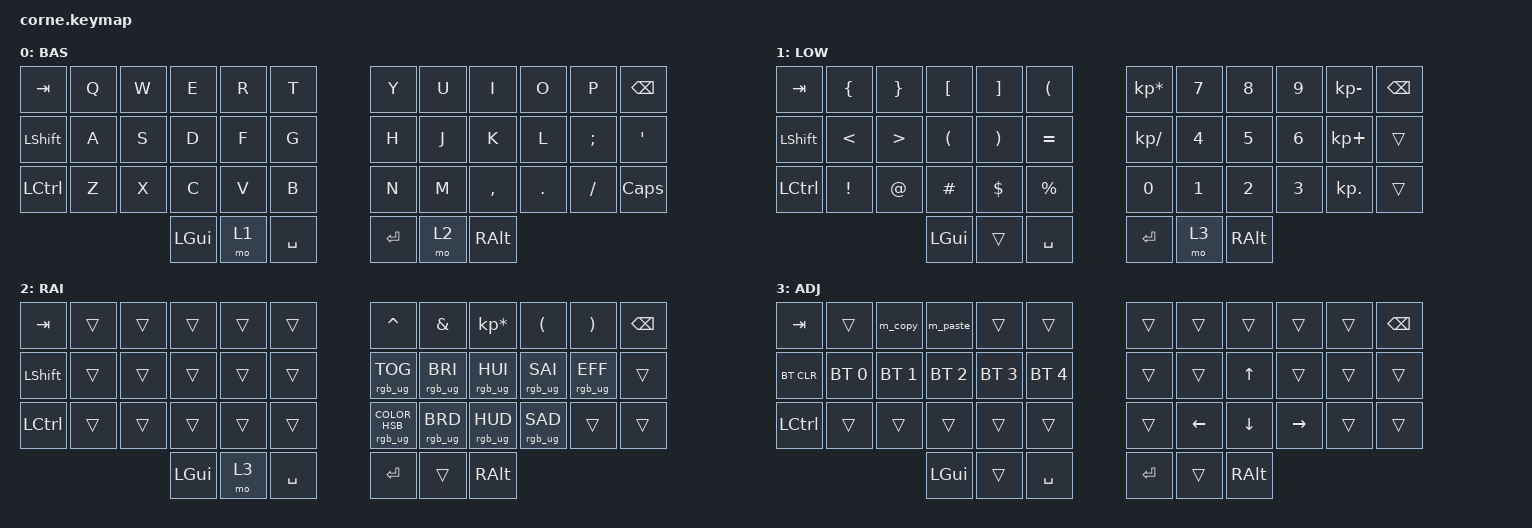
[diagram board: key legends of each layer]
#include <behaviors.dtsi>
#include <dt-bindings/zmk/keys.h>
#include <dt-bindings/zmk/bt.h>
#include <dt-bindings/zmk/rgb.h>

/ {
    // Definición de Macros para Backend
    macros {
        // Macro para Copiar (Ctrl + C)
        m_copy: m_copy {
            compatible = "zmk,behavior-macro";
            #binding-cells = <0>;
            bindings = <&macro_press &kp LCTRL>, <&macro_tap &kp C>, <&macro_release &kp LCTRL>;
        };
        // Macro para Pegar (Ctrl + V)
        m_paste: m_paste {
            compatible = "zmk,behavior-macro";
            #binding-cells = <0>;
            bindings = <&macro_press &kp LCTRL>, <&macro_tap &kp V>, <&macro_release &kp LCTRL>;
        };
    };

    keymap {
        compatible = "zmk,keymap";

        default_layer {
            display-name = "BAS";
            // Lado Izquierdo: Shift arriba, Ctrl abajo. Caps Lock en la esquina derecha.
            bindings = <
&kp TAB    &kp Q  &kp W  &kp E     &kp R  &kp T        &kp Y    &kp U  &kp I      &kp O    &kp P     &kp BSPC
&kp LSHFT  &kp A  &kp S  &kp D     &kp F  &kp G        &kp H    &kp J  &kp K      &kp L    &kp SEMI  &kp SQT
&kp LCTRL  &kp Z  &kp X  &kp C     &kp V  &kp B        &kp N    &kp M  &kp COMMA  &kp DOT  &kp FSLH  &kp CAPS
                         &kp LGUI  &mo 1  &kp SPACE    &kp RET  &mo 2  &kp RALT
            >;
        };

        lower_layer {
            display-name = "LOW";
            // Lado Izq: Símbolos de programación ({ } [ ] ( ) < > = !). 
            // Lado Der: Teclado numérico estilo Numlock (U=7, J=4, M=1).
            bindings = <
&kp TAB    &kp LBRC  &kp RBRC  &kp LBKT  &kp RBKT  &kp LPAR     &kp KP_MULTIPLY  &kp N7  &kp N8  &kp N9  &kp KP_MINUS  &kp BSPC
&kp LSHFT  &kp LT    &kp GT    &kp LPAR  &kp RPAR  &kp EQUAL    &kp KP_DIVIDE    &kp N4  &kp N5  &kp N6  &kp KP_PLUS   &trans
&kp LCTRL  &kp EXCL  &kp AT    &kp HASH  &kp DLLR  &kp PRCNT    &kp N0           &kp N1  &kp N2  &kp N3  &kp KP_DOT    &trans
                               &kp LGUI  &trans    &kp SPACE    &kp RET          &mo 3   &kp RALT
            >;
        };

        raise_layer {
            display-name = "RAI";
            // Lado Der: Control de luces RGB (Brillo, Color, Efectos).
            bindings = <
&kp TAB    &trans  &trans  &trans  &trans  &trans       &kp CARET  &kp AMPS  &kp KP_MULTIPLY  &kp LPAR  &kp RPAR  &kp BSPC
&kp LSHFT  &trans  &trans  &trans  &trans  &trans       &rgb_ug RGB_TOG  &rgb_ug RGB_BRI  &rgb_ug RGB_HUI  &rgb_ug RGB_SAI  &rgb_ug RGB_EFF  &trans
&kp LCTRL  &trans  &trans  &trans  &trans  &trans       &rgb_ug RGB_COLOR_HSB(120,100,50) &rgb_ug RGB_BRD  &rgb_ug RGB_HUD  &rgb_ug RGB_SAD  &trans  &trans
                           &kp LGUI  &mo 3  &kp SPACE    &kp RET    &trans    &kp RALT
            >;
        };

        adjust_layer {
            display-name = "ADJ";
            // SE ACTIVA CON LWR + RAI. 
            // Mano IZQ: Macros de Copiar (W) y Pegar (E).
            // Mano DER: Flechas (M=Izq, ,=Abajo, .=Arriba, /=Derecha).
            bindings = <
&kp TAB    &trans     &m_copy    &m_paste   &trans     &trans       &trans    &trans    &trans    &trans     &trans     &kp BSPC
&bt BT_CLR &bt BT_SEL 0 &bt BT_SEL 1 &bt BT_SEL 2 &bt BT_SEL 3 &bt BT_SEL 4    &trans    &trans    &kp UP    &trans     &trans     &trans
&kp LCTRL  &trans     &trans     &trans     &trans     &trans       &trans    &kp LEFT  &kp DOWN  &kp RIGHT  &trans     &trans
                                 &kp LGUI   &trans     &kp SPACE    &kp RET   &trans    &kp RALT
            >;
        };
    };
};
